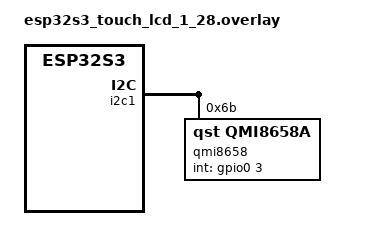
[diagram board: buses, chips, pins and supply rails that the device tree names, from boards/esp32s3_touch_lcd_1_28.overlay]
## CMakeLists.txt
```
cmake_minimum_required(VERSION 3.20.0)

find_package(Zephyr REQUIRED HINTS
    $ENV{ZEPHYR_BASE}
    ${CMAKE_CURRENT_LIST_DIR}/../../zephyr/share/zephyr-package/cmake
)
project(ZephyrWatch)

target_sources(app PRIVATE
    src/main.c
    src/platform/display.c
    src/ui/watch_face.c
    src/core/app_manager.c
    src/core/app_registry.c
    src/services/imu_services.c
    src/services/pedometer_service.c
    src/services/time_service.c
    src/utils/string_utils.c
    src/applications/pedometer/pedometer_app.c
    src/applications/watchface/watchface_app.c
)

target_include_directories(app PRIVATE
    ${CMAKE_CURRENT_SOURCE_DIR}/include
)
```

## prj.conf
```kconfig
CONFIG_KERNEL_BIN_NAME="firmware"
```

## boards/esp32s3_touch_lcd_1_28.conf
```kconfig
# Display, touch input, and LVGL
CONFIG_DISPLAY=y
CONFIG_INPUT=y
# The board's touch interrupt is unreliable, so poll the CST816S instead.
# Startup code disables controller auto-sleep to keep polling responsive.
CONFIG_INPUT_CST8XX_INTERRUPT=n
CONFIG_INPUT_CST8XX_PERIOD_MS=20
CONFIG_LVGL=y

# Memory for the LVGL objects and the application thread
CONFIG_LV_Z_MEM_POOL_SIZE=16384
CONFIG_MAIN_STACK_SIZE=4096

# Watch fonts: small UI text, headings, and the clock
CONFIG_LV_FONT_MONTSERRAT_14=y
CONFIG_LV_FONT_MONTSERRAT_24=y
CONFIG_LV_FONT_MONTSERRAT_48=y

# Theme and layout
CONFIG_LV_USE_THEME_DEFAULT=y
CONFIG_LV_THEME_DEFAULT_DARK=y
CONFIG_LV_USE_FLEX=y

# Widgets used by the planned watch interface
CONFIG_LV_USE_LABEL=y
CONFIG_LV_USE_BUTTON=y
CONFIG_LV_USE_IMAGE=y
CONFIG_LV_USE_ARC=y
CONFIG_LV_USE_BAR=y
CONFIG_LV_USE_CHART=y
CONFIG_LV_USE_SCALE=y
CONFIG_LV_USE_SWITCH=y
CONFIG_LV_USE_TILEVIEW=y

# Sensors
CONFIG_SENSOR=y
CONFIG_QMI8658A=y
CONFIG_QMI8658A_TRIGGER_OWN_THREAD=y
```

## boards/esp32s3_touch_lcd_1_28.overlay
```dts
#include <zephyr/dt-bindings/gpio/gpio.h>

&i2c1 {
    qmi8658: qmi8658a@6b {
        compatible = "qst,qmi8658a";
        reg = <0x6b>;
        accel-fs = <4>;
        gyro-fs = <512>;
        accel-odr = <56>;
        gyro-odr = <56>;
        int-gpios = <&gpio0 3 GPIO_ACTIVE_HIGH>;
        int-pin = <2>;
        status = "okay";
    };
};
```

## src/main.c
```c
/**
 * @file main.c
 * @brief ZephyrWatch firmware entry point.
 *
 * Initializes platform services and the watch face, then services LVGL.
 */

#include <stdint.h>

#include <lvgl.h>
#include <zephyr/device.h>
#include <zephyr/drivers/i2c.h>
#include <zephyr/kernel.h>
#include <zephyr/sys/printk.h>

#include <zephyrwatch/core/app_manager.h>
#include <zephyrwatch/platform/display.h>
#include <zephyrwatch/services/imu_services.h>
#include <zephyrwatch/services/pedometer_service.h>
#include <zephyrwatch/services/time_service.h>

/** CST8XX register controlling the controller's inactivity auto-sleep. */
#define CST8XX_REG_DISABLE_AUTO_SLEEP 0xFE

/** Non-zero value keeps the CST8XX awake while it is polled. */
#define CST8XX_AUTO_SLEEP_DISABLED    0x01

/** Touch controller selected by the board devicetree. */
static const struct device* touch_device = DEVICE_DT_GET(DT_CHOSEN(zephyr_touch));

/** I2C bus and address of the board's touch controller. */
static const struct i2c_dt_spec touch_i2c = I2C_DT_SPEC_GET(DT_CHOSEN(zephyr_touch));

/** @brief Initialize ZephyrWatch and run its main event loop. */
int main(void) {
    if (!device_is_ready(touch_device)) {
        printk("Touch controller is not ready\n");
        return -1;
    }

    /* Polling cannot read the CST816S after it enters inactivity sleep. */
    if (i2c_reg_write_byte_dt(&touch_i2c, CST8XX_REG_DISABLE_AUTO_SLEEP, CST8XX_AUTO_SLEEP_DISABLED) != 0) {
        printk("Failed to disable touch controller auto-sleep\n");
        return -1;
    }

    if (time_service_init() != 0) {
        printk("Failed to initialize time service\n");
        return -1;
    }
    if (time_service_set(INT64_C(1760875200000), 2 * 60 * 60 * 1000, TIME_SOURCE_MANUAL) != 0) {
        printk("Failed to set test time\n");
        return -1;
    }
    if (imu_service_init() != 0) {
        printk("Failed to initialize IMU service\n");
        return -1;
    }
    if (pedometer_service_init() != 0) {
        printk("Failed to initialize pedometer service\n");
        return -1;
    }
    if (w_display_init() != 0) {
        printk("Failed to initialize display\n");
        return -1;
    }
    if (w_display_on() != 0) {
        printk("Failed to turn on display\n");
        return -1;
    }
    if (app_manager_init() != 0) {
        printk("Failed to initialize app manager\n");
        return -1;
    }
    if (app_manager_open(APP_ID_WATCHFACE) != 0) {
        printk("Failed to open watch face app\n");
        return -1;
    }

    while (1) {
        uint32_t delay_ms = lv_timer_handler();

        k_msleep(delay_ms);
    }

    return 0;
}
```
